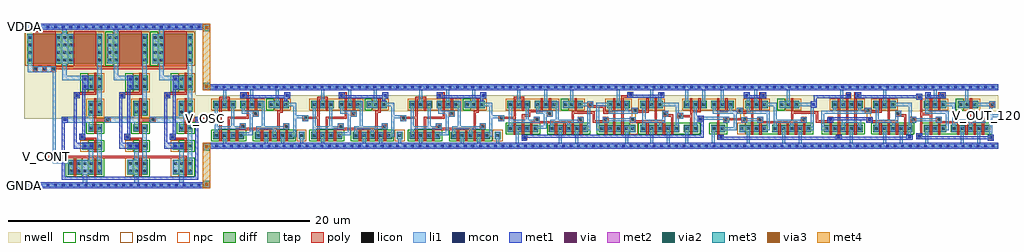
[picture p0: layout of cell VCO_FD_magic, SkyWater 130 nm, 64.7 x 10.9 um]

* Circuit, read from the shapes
.subckt VCO_FD_magic GNDA VDDA V_CONT V_OSC V_OUT_120
XM1 GNDA V_CONT vco2_3_0/V1 GNDA sky130_fd_pr__nfet_01v8 w=1 l=0.15
XM2 vco2_3_0/V3 V_CONT GNDA GNDA sky130_fd_pr__nfet_01v8 w=1 l=0.15
XM3 vco2_3_0/V3 VDDA GNDA GNDA sky130_fd_pr__nfet_01v8 w=0.5 l=0.15
XM4 vco2_3_0/V3 vco2_3_0/V8 V_OSC GNDA sky130_fd_pr__nfet_01v8 w=0.5 l=0.15
XM5 vco2_3_0/V5 V_CONT GNDA GNDA sky130_fd_pr__nfet_01v8 w=1 l=0.15
XM6 vco2_3_0/V5 VDDA GNDA GNDA sky130_fd_pr__nfet_01v8 w=0.5 l=0.15
XM7 vco2_3_0/V5 vco2_3_0/V9 vco2_3_0/V8 GNDA sky130_fd_pr__nfet_01v8 w=0.5 l=0.15
XM8 vco2_3_0/V7 V_CONT GNDA GNDA sky130_fd_pr__nfet_01v8 w=1 l=0.15
XM9 vco2_3_0/V7 VDDA GNDA GNDA sky130_fd_pr__nfet_01v8 w=0.5 l=0.15
XM10 vco2_3_0/V7 V_OSC vco2_3_0/V9 GNDA sky130_fd_pr__nfet_01v8 w=0.5 l=0.15
XM11 GNDA V_OSC n1 GNDA sky130_fd_pr__nfet_01v8 w=0.5 l=0.15
XM12 div120_2_1/div2_4_3/B div120_2_1/div2 GNDA GNDA sky130_fd_pr__nfet_01v8 w=0.5 l=0.15
XM13 div120_2_1/div2_4_3/A n1 div120_2_1/div2_4_3/B GNDA sky130_fd_pr__nfet_01v8 w=0.5 l=0.15
XM14 GNDA n1 div120_2_1/div2_4_3/C GNDA sky130_fd_pr__nfet_01v8 w=0.5 l=0.15 m=3
XM15 div120_2_1/div2 div120_2_1/div2_4_3/C GNDA GNDA sky130_fd_pr__nfet_01v8 w=0.5 l=0.15
XM16 GNDA div120_2_1/div2 n2 GNDA sky130_fd_pr__nfet_01v8 w=0.5 l=0.15
XM17 div120_2_1/div2_4_4/B div120_2_1/div4 GNDA GNDA sky130_fd_pr__nfet_01v8 w=0.5 l=0.15
XM18 div120_2_1/div2_4_4/A n2 div120_2_1/div2_4_4/B GNDA sky130_fd_pr__nfet_01v8 w=0.5 l=0.15
XM19 GNDA n2 div120_2_1/div2_4_4/C GNDA sky130_fd_pr__nfet_01v8 w=0.5 l=0.15 m=3
XM20 div120_2_1/div4 div120_2_1/div2_4_4/C GNDA GNDA sky130_fd_pr__nfet_01v8 w=0.5 l=0.15
XM21 GNDA div120_2_1/div4 n3 GNDA sky130_fd_pr__nfet_01v8 w=0.5 l=0.15
XM22 div120_2_1/div2_4_2/B div120_2_1/div8 GNDA GNDA sky130_fd_pr__nfet_01v8 w=0.5 l=0.15
XM23 div120_2_1/div2_4_2/A n3 div120_2_1/div2_4_2/B GNDA sky130_fd_pr__nfet_01v8 w=0.5 l=0.15
XM24 GNDA n3 div120_2_1/div2_4_2/C GNDA sky130_fd_pr__nfet_01v8 w=0.5 l=0.15 m=3
XM25 div120_2_1/div8 div120_2_1/div2_4_2/C GNDA GNDA sky130_fd_pr__nfet_01v8 w=0.5 l=0.15
XM26 GNDA div120_2_1/div8 div120_2_1/div3_3_1/CLK GNDA sky130_fd_pr__nfet_01v8 w=0.5 l=0.15
XM27 div120_2_1/div3_3_1/B div120_2_1/div24 GNDA GNDA sky130_fd_pr__nfet_01v8 w=0.5 l=0.15
XM28 div120_2_1/div3_3_1/A div120_2_1/div3_3_1/CLK div120_2_1/div3_3_1/B GNDA sky130_fd_pr__nfet_01v8 w=0.5 l=0.15
XM29 GNDA div120_2_1/div3_3_1/CLK div120_2_1/div3_3_1/C GNDA sky130_fd_pr__nfet_01v8 w=0.5 l=0.15 m=3
XM30 div120_2_1/div3_3_1/D div120_2_1/div3_3_1/C GNDA GNDA sky130_fd_pr__nfet_01v8 w=0.5 l=0.15
XM31 div120_2_1/div3_3_1/F div120_2_1/div3_3_1/CLK div120_2_1/div3_3_1/E GNDA sky130_fd_pr__nfet_01v8 w=0.5 l=0.15
XM32 div120_2_1/div3_3_1/G div120_2_1/div3_3_1/D div120_2_1/div3_3_1/F GNDA sky130_fd_pr__nfet_01v8 w=0.5 l=0.15
XM33 GNDA div120_2_1/div3_3_1/I div120_2_1/div3_3_1/G GNDA sky130_fd_pr__nfet_01v8 w=0.5 l=0.15
XM34 GNDA div120_2_1/div3_3_1/CLK div120_2_1/div3_3_1/H GNDA sky130_fd_pr__nfet_01v8 w=0.5 l=0.15 m=3
XM35 div120_2_1/div3_3_1/I div120_2_1/div3_3_1/H GNDA GNDA sky130_fd_pr__nfet_01v8 w=0.5 l=0.15
XM36 div120_2_1/div24 div120_2_1/div3_3_1/I GNDA GNDA sky130_fd_pr__nfet_01v8 w=0.5 l=0.15
XM37 div120_2_1/div5_2_0/A div120_2_1/div5_2_0/Q2_b GNDA GNDA sky130_fd_pr__nfet_01v8 w=0.5 l=0.15
XM38 div120_2_1/div5_2_0/C div120_2_1/div5_2_0/A GNDA GNDA sky130_fd_pr__nfet_01v8 w=0.5 l=0.15
XM39 div120_2_1/div5_2_0/B div120_2_1/div24 div120_2_1/div5_2_0/C GNDA sky130_fd_pr__nfet_01v8 w=0.5 l=0.15
XM40 GNDA div120_2_1/div24 div120_2_1/div5_2_0/D GNDA sky130_fd_pr__nfet_01v8 w=0.5 l=0.15 m=3
XM41 div120_2_1/div5_2_0/E div120_2_1/div5_2_0/D GNDA GNDA sky130_fd_pr__nfet_01v8 w=0.5 l=0.15
XM42 div120_2_1/div5_2_0/H div120_2_1/div24 div120_2_1/div5_2_0/G GNDA sky130_fd_pr__nfet_01v8 w=0.5 l=0.15
XM43 div120_2_1/div5_2_0/I div120_2_1/div5_2_0/Q2_b div120_2_1/div5_2_0/H GNDA sky130_fd_pr__nfet_01v8 w=0.5 l=0.15
XM44 GNDA div120_2_1/div5_2_0/E div120_2_1/div5_2_0/I GNDA sky130_fd_pr__nfet_01v8 w=0.5 l=0.15
XM45 div120_2_1/div5_2_0/I V_OUT_120 GNDA GNDA sky130_fd_pr__nfet_01v8 w=0.5 l=0.15
XM46 GNDA div120_2_1/div24 div120_2_1/div5_2_0/J GNDA sky130_fd_pr__nfet_01v8 w=0.5 l=0.15 m=3
XM47 div120_2_1/div5_2_0/Q2_b div120_2_1/div5_2_0/J GNDA GNDA sky130_fd_pr__nfet_01v8 w=0.5 l=0.15
XM48 div120_2_1/div5_2_0/L V_OUT_120 GNDA GNDA sky130_fd_pr__nfet_01v8 w=0.5 l=0.15
XM49 div120_2_1/div5_2_0/K div120_2_1/div5_2_0/Q2_b div120_2_1/div5_2_0/L GNDA sky130_fd_pr__nfet_01v8 w=0.5 l=0.15
XM50 GNDA div120_2_1/div5_2_0/Q2_b div120_2_1/div5_2_0/M GNDA sky130_fd_pr__nfet_01v8 w=0.5 l=0.15 m=3
XM51 V_OUT_120 div120_2_1/div5_2_0/M GNDA GNDA sky130_fd_pr__nfet_01v8 w=0.5 l=0.15
XM52 VDDA vco2_3_0/V1 vco2_3_0/V1 VDDA sky130_fd_pr__pfet_01v8 w=2 l=1.5
XM53 vco2_3_0/V2 vco2_3_0/V1 VDDA VDDA sky130_fd_pr__pfet_01v8 w=2 l=1.5
XM54 vco2_3_0/V2 vco2_3_0/V8 V_OSC VDDA sky130_fd_pr__pfet_01v8 w=1 l=0.15
XM55 vco2_3_0/V2 GNDA VDDA VDDA sky130_fd_pr__pfet_01v8 w=1 l=0.15
XM56 vco2_3_0/V4 vco2_3_0/V1 VDDA VDDA sky130_fd_pr__pfet_01v8 w=2 l=1.5
XM57 vco2_3_0/V4 vco2_3_0/V9 vco2_3_0/V8 VDDA sky130_fd_pr__pfet_01v8 w=1 l=0.15
XM58 vco2_3_0/V4 GNDA VDDA VDDA sky130_fd_pr__pfet_01v8 w=1 l=0.15
XM59 vco2_3_0/V6 vco2_3_0/V1 VDDA VDDA sky130_fd_pr__pfet_01v8 w=2 l=1.5
XM60 vco2_3_0/V6 V_OSC vco2_3_0/V9 VDDA sky130_fd_pr__pfet_01v8 w=1 l=0.15
XM61 vco2_3_0/V6 GNDA VDDA VDDA sky130_fd_pr__pfet_01v8 w=1 l=0.15
XM62 VDDA V_OSC n1 VDDA sky130_fd_pr__pfet_01v8 w=0.5 l=0.15 m=2
XM63 VDDA div120_2_1/div2 div120_2_1/div2_4_3/A VDDA sky130_fd_pr__pfet_01v8 w=0.5 l=0.15
XM64 div120_2_1/div2_4_3/C div120_2_1/div2_4_3/A VDDA VDDA sky130_fd_pr__pfet_01v8 w=0.5 l=0.15
XM65 div120_2_1/div2 n1 VDDA VDDA sky130_fd_pr__pfet_01v8 w=0.5 l=0.15
XM66 VDDA div120_2_1/div2 n2 VDDA sky130_fd_pr__pfet_01v8 w=0.5 l=0.15 m=2
XM67 VDDA div120_2_1/div4 div120_2_1/div2_4_4/A VDDA sky130_fd_pr__pfet_01v8 w=0.5 l=0.15
XM68 div120_2_1/div2_4_4/C div120_2_1/div2_4_4/A VDDA VDDA sky130_fd_pr__pfet_01v8 w=0.5 l=0.15
XM69 div120_2_1/div4 n2 VDDA VDDA sky130_fd_pr__pfet_01v8 w=0.5 l=0.15
XM70 VDDA div120_2_1/div4 n3 VDDA sky130_fd_pr__pfet_01v8 w=0.5 l=0.15 m=2
XM71 VDDA div120_2_1/div8 div120_2_1/div2_4_2/A VDDA sky130_fd_pr__pfet_01v8 w=0.5 l=0.15
XM72 div120_2_1/div2_4_2/C div120_2_1/div2_4_2/A VDDA VDDA sky130_fd_pr__pfet_01v8 w=0.5 l=0.15
XM73 div120_2_1/div8 n3 VDDA VDDA sky130_fd_pr__pfet_01v8 w=0.5 l=0.15
XM74 VDDA div120_2_1/div8 div120_2_1/div3_3_1/CLK VDDA sky130_fd_pr__pfet_01v8 w=0.5 l=0.15 m=2
XM75 VDDA div120_2_1/div24 div120_2_1/div3_3_1/A VDDA sky130_fd_pr__pfet_01v8 w=0.5 l=0.15
XM76 div120_2_1/div3_3_1/C div120_2_1/div3_3_1/A VDDA VDDA sky130_fd_pr__pfet_01v8 w=0.5 l=0.15
XM77 div120_2_1/div3_3_1/D div120_2_1/div3_3_1/CLK VDDA VDDA sky130_fd_pr__pfet_01v8 w=0.5 l=0.15
XM78 VDDA div120_2_1/div3_3_1/D div120_2_1/div3_3_1/E VDDA sky130_fd_pr__pfet_01v8 w=0.5 l=0.15
XM79 div120_2_1/div3_3_1/E div120_2_1/div3_3_1/I VDDA VDDA sky130_fd_pr__pfet_01v8 w=0.5 l=0.15
XM80 VDDA div120_2_1/div3_3_1/E div120_2_1/div3_3_1/H VDDA sky130_fd_pr__pfet_01v8 w=0.5 l=0.15
XM81 div120_2_1/div3_3_1/I div120_2_1/div3_3_1/CLK VDDA VDDA sky130_fd_pr__pfet_01v8 w=0.5 l=0.15
XM82 div120_2_1/div24 div120_2_1/div3_3_1/I VDDA VDDA sky130_fd_pr__pfet_01v8 w=0.5 l=0.15 m=2
XM83 VDDA div120_2_1/div5_2_0/Q2_b div120_2_1/div5_2_0/A VDDA sky130_fd_pr__pfet_01v8 w=0.5 l=0.15 m=2
XM84 VDDA div120_2_1/div5_2_0/A div120_2_1/div5_2_0/B VDDA sky130_fd_pr__pfet_01v8 w=0.5 l=0.15
XM85 div120_2_1/div5_2_0/D div120_2_1/div5_2_0/B VDDA VDDA sky130_fd_pr__pfet_01v8 w=0.5 l=0.15
XM86 div120_2_1/div5_2_0/E div120_2_1/div24 VDDA VDDA sky130_fd_pr__pfet_01v8 w=0.5 l=0.15
XM87 VDDA div120_2_1/div5_2_0/Q2_b div120_2_1/div5_2_0/G VDDA sky130_fd_pr__pfet_01v8 w=0.5 l=0.15
XM88 div120_2_1/div5_2_0/F div120_2_1/div5_2_0/E VDDA VDDA sky130_fd_pr__pfet_01v8 w=0.5 l=0.15
XM89 div120_2_1/div5_2_0/G V_OUT_120 div120_2_1/div5_2_0/F VDDA sky130_fd_pr__pfet_01v8 w=0.5 l=0.15
XM90 VDDA div120_2_1/div5_2_0/G div120_2_1/div5_2_0/J VDDA sky130_fd_pr__pfet_01v8 w=0.5 l=0.15
XM91 div120_2_1/div5_2_0/Q2_b div120_2_1/div24 VDDA VDDA sky130_fd_pr__pfet_01v8 w=0.5 l=0.15
XM92 VDDA V_OUT_120 div120_2_1/div5_2_0/K VDDA sky130_fd_pr__pfet_01v8 w=0.5 l=0.15
XM93 div120_2_1/div5_2_0/M div120_2_1/div5_2_0/K VDDA VDDA sky130_fd_pr__pfet_01v8 w=0.5 l=0.15
XM94 V_OUT_120 div120_2_1/div5_2_0/Q2_b VDDA VDDA sky130_fd_pr__pfet_01v8 w=0.5 l=0.15
.ends

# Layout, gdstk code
import gdstk
lib = gdstk.Library(unit=1e-6, precision=1e-09)
def R(c, l, rs):  # rectangles x0, y0, x1, y1
    for r in rs: c.add(gdstk.rectangle(r[:2], r[2:], *l))
def A(c, l, x, y, w, h, nx, ny, dx, dy):  # array of equal rectangles
    R(c, l, [(x+i*dx, y+j*dy, x+i*dx+w, y+j*dy+h) for i in range(nx) for j in range(ny)])
nwell = (64, 20)
diff = (65, 20)
tap = (65, 44)
poly = (66, 20)
licon = (66, 44)
li1 = (67, 20)
mcon = (67, 44)
met1 = (68, 20)
via = (68, 44)
met2 = (69, 20)
via2 = (69, 44)
met3 = (70, 20)
via3 = (70, 44)
met4 = (71, 20)
nsdm = (93, 44)
psdm = (94, 20)
npc = (95, 20)

vco2_3 = lib.new_cell('vco2_3')
R(vco2_3, nwell, [(11.75,-0.05,23.15,5.8)])
A(vco2_3, diff, 16, -3.75, 0.95, 1, 3, 2, 3, 3.9)
A(vco2_3, diff, 16, -2.1, 0.95, 0.5, 3, 2, 3, 1.2)
A(vco2_3, diff, 16, 1.85, 0.95, 1, 3, 1, 3, 0)
A(vco2_3, diff, 14.65, 3.6, 2.3, 2, 3, 1, 3, 0)
R(vco2_3, diff, [(14.65,-3.75,15.6,-2.75), (11.95,3.6,14.25,5.6)])
A(vco2_3, tap, 15.6, -3.75, 0.4, 1, 3, 2, 3, 5.6)
A(vco2_3, tap, 15.6, -2.1, 0.4, 0.5, 3, 1, 3, 0)
A(vco2_3, tap, 14.25, 3.6, 0.4, 2, 3, 1, 3, 0)
A(vco2_3, poly, 16.4, -3.9, 0.15, 1.25, 3, 1, 3, 0)
A(vco2_3, poly, 16.4, -2.25, 0.15, 0.8, 3, 1, 3, 0)
A(vco2_3, poly, 15.4, -1.45, 1.15, 0.15, 3, 1, 3, 0)
A(vco2_3, poly, 15.4, -1.3, 0.4, 0.25, 3, 1, 3, 0)
A(vco2_3, poly, 16.4, -1.05, 0.15, 0.85, 3, 1, 3, 0)
A(vco2_3, poly, 17.1, -0.3, 0.4, 0.1, 3, 1, 3, 0)
A(vco2_3, poly, 16.4, -0.2, 1.1, 0.15, 3, 1, 3, 0)
A(vco2_3, poly, 16.4, -0.05, 0.15, 1.35, 3, 1, 3, 0)
A(vco2_3, poly, 17.1, -0.05, 0.4, 0.15, 3, 1, 3, 0)
A(vco2_3, poly, 15.05, 1.3, 0.4, 0.25, 3, 1, 3, 0)
A(vco2_3, poly, 15.05, 1.55, 1.5, 0.15, 3, 1, 3, 0)
A(vco2_3, poly, 16.4, 1.7, 0.15, 1.3, 3, 1, 3, 0)
A(vco2_3, poly, 15.05, 3.45, 1.5, 2.3, 3, 1, 3, 0)
R(vco2_3, poly, [(15.05,-3.9,15.2,-2.65), (13.45,-2.65,22.55,-2.5), (12.35,3.05,12.65,3.45), (12.95,3.05,13.25,3.45), (13.55,3.05,13.85,3.25), (13.55,3.25,22.55,3.45), (12.35,3.45,13.85,5.75)])
A(vco2_3, licon, 15.315, -3.585, 0.17, 0.17, 3, 2, 0.4, 0.5)
A(vco2_3, licon, 15.515, -1.335, 0.17, 0.17, 3, 1, 3, 0)
A(vco2_3, licon, 17.215, -0.185, 0.17, 0.17, 3, 1, 3, 0)
A(vco2_3, licon, 15.165, 1.415, 0.17, 0.17, 3, 1, 3, 0)
A(vco2_3, licon, 12.415, 3.165, 0.17, 0.17, 3, 1, 0.6, 0)
A(vco2_3, licon, 12.065, 3.765, 0.17, 0.17, 1, 4, 0, 0.5)
A(vco2_3, licon, 13.965, 3.765, 0.17, 0.17, 3, 4, 0.4, 0.5)
A(vco2_3, licon, 16.665, 3.765, 0.17, 0.17, 1, 4, 0, 0.5)
A(vco2_3, licon, 17.365, 3.765, 0.17, 0.17, 1, 4, 0, 0.5)
A(vco2_3, licon, 17.765, 3.765, 0.17, 0.17, 1, 4, 0, 0.5)
A(vco2_3, licon, 19.665, 3.765, 0.17, 0.17, 1, 4, 0, 0.5)
A(vco2_3, licon, 20.365, 3.765, 0.17, 0.17, 1, 4, 0, 0.5)
A(vco2_3, licon, 20.765, 3.765, 0.17, 0.17, 1, 4, 0, 0.5)
A(vco2_3, licon, 22.665, 3.765, 0.17, 0.17, 1, 4, 0, 0.5)
R(vco2_3, licon, [(14.765,-3.585,14.935,-3.415), (16.665,-3.585,16.835,-3.415), (18.715,-3.585,18.885,-3.415), (19.115,-3.585,19.285,-3.415), (19.665,-3.585,19.835,-3.415), (21.715,-3.585,21.885,-3.415), (22.115,-3.585,22.285,-3.415), (22.665,-3.585,22.835,-3.415), (14.765,-3.085,14.935,-2.915), (16.665,-3.085,16.835,-2.915), (18.715,-3.085,18.885,-2.915), (19.115,-3.085,19.285,-2.915), (19.665,-3.085,19.835,-2.915), (21.715,-3.085,21.885,-2.915), (22.115,-3.085,22.285,-2.915), (22.665,-3.085,22.835,-2.915), (15.715,-1.935,15.885,-1.765), (16.115,-1.935,16.285,-1.765), (16.665,-1.935,16.835,-1.765), (18.715,-1.935,18.885,-1.765), (19.115,-1.935,19.285,-1.765), (19.665,-1.935,19.835,-1.765), (21.715,-1.935,21.885,-1.765), (22.115,-1.935,22.285,-1.765), (22.665,-1.935,22.835,-1.765), (16.115,-0.735,16.285,-0.565), (16.665,-0.735,16.835,-0.565), (19.115,-0.735,19.285,-0.565), (19.665,-0.735,19.835,-0.565), (22.115,-0.735,22.285,-0.565), (22.665,-0.735,22.835,-0.565), (16.115,0.315,16.285,0.485), (16.665,0.315,16.835,0.485), (19.115,0.315,19.285,0.485), (19.665,0.315,19.835,0.485), (22.115,0.315,22.285,0.485), (22.665,0.315,22.835,0.485), (16.115,0.815,16.285,0.985), (16.665,0.815,16.835,0.985), (19.115,0.815,19.285,0.985), (19.665,0.815,19.835,0.985), (22.115,0.815,22.285,0.985), (22.665,0.815,22.835,0.985), (15.715,2.015,15.885,2.185), (16.115,2.015,16.285,2.185), (16.665,2.015,16.835,2.185), (18.715,2.015,18.885,2.185), (19.115,2.015,19.285,2.185), (19.665,2.015,19.835,2.185), (21.715,2.015,21.885,2.185), (22.115,2.015,22.285,2.185), (22.665,2.015,22.835,2.185), (15.715,2.515,15.885,2.685), (16.115,2.515,16.285,2.685), (16.665,2.515,16.835,2.685), (18.715,2.515,18.885,2.685), (19.115,2.515,19.285,2.685), (19.665,2.515,19.835,2.685), (21.715,2.515,21.885,2.685), (22.115,2.515,22.285,2.685), (22.665,2.515,22.835,2.685)])
A(vco2_3, li1, 16.6, -3.7, 0.3, 3.25, 3, 1, 3, 0)
A(vco2_3, li1, 16.05, -2.8, 0.3, 0.75, 3, 1, 3, 0)
A(vco2_3, li1, 15.65, -2.05, 0.7, 0.4, 3, 1, 3, 0)
A(vco2_3, li1, 15.4, -1.45, 0.4, 0.4, 3, 1, 3, 0)
A(vco2_3, li1, 16.05, -0.85, 0.3, 0.55, 3, 1, 3, 0)
A(vco2_3, li1, 16.05, 0.1, 0.3, 1, 3, 1, 3, 0)
A(vco2_3, li1, 16.6, 0.2, 0.3, 5.35, 3, 1, 3, 0)
A(vco2_3, li1, 15.05, 1.3, 0.4, 0.4, 3, 1, 3, 0)
A(vco2_3, li1, 15.6, 1.9, 0.75, 0.6, 3, 1, 3, 0)
R(vco2_3, li1, [(11.95,-4.55,23.5,-4.35), (15.65,-4.35,15.95,-3.7), (19.05,-4.35,19.35,-3.7), (22.05,-4.35,22.35,-3.7), (14.7,-3.7,15,-3), (15.25,-3.7,16.35,-2.8), (18.65,-3.7,19.35,-2.8), (21.65,-3.7,22.35,-2.8), (13.65,-3,15,-2.8), (13.65,-2.8,13.85,3.05), (14.25,-0.3,16.35,0.1), (17.1,-0.3,19.35,0.1), (20.1,-0.3,22.35,0.1), (23.1,-0.3,23.5,0.1), (14.3,2.5,16.35,2.8), (17.7,2.5,19.35,2.8), (20.7,2.5,22.35,2.8), (14.3,2.8,14.6,3.65), (17.7,2.8,18,3.65), (20.7,2.8,21,3.65), (12,3.05,13.85,3.45), (12,3.45,12.3,5.55), (13.9,3.65,15,5.55), (17.3,3.65,18,5.55), (20.3,3.65,21,5.55), (14.3,5.55,14.6,5.95), (17.7,5.55,18,5.95), (20.7,5.55,21,5.95), (11.95,5.95,23.5,6.15)])
A(vco2_3, mcon, 12.265, -4.535, 0.17, 0.17, 23, 2, 0.5, 10.5)
A(vco2_3, mcon, 15.515, -1.335, 0.17, 0.17, 3, 1, 3, 0)
A(vco2_3, mcon, 15.165, 1.415, 0.17, 0.17, 3, 1, 3, 0)
A(vco2_3, mcon, 15.715, 2.015, 0.17, 0.17, 3, 2, 3, 0.5)
R(vco2_3, mcon, [(15.715,-1.935,15.885,-1.765), (16.115,-1.935,16.285,-1.765), (18.715,-1.935,18.885,-1.765), (19.115,-1.935,19.285,-1.765), (21.715,-1.935,21.885,-1.765), (22.115,-1.935,22.285,-1.765), (14.365,-0.185,14.535,-0.015), (23.215,-0.185,23.385,-0.015)])
A(vco2_3, met1, 15.05, -2.05, 1.3, 0.4, 3, 1, 3, 0)
A(vco2_3, met1, 15.05, -1.65, 0.2, 2.95, 3, 1, 3, 0)
A(vco2_3, met1, 15.4, -1.45, 0.4, 0.4, 3, 1, 3, 0)
A(vco2_3, met1, 15.6, -1.05, 0.2, 2.95, 3, 1, 3, 0)
A(vco2_3, met1, 15.05, 1.3, 0.4, 0.4, 3, 1, 3, 0)
A(vco2_3, met1, 15.6, 1.9, 0.4, 0.9, 3, 1, 3, 0)
R(vco2_3, met1, [(11.95,-4.65,23.5,-4.25), (14.25,-4.1,23.3,-3.9), (14.25,-3.9,14.45,-0.3), (23.1,-3.9,23.3,-0.3), (14.25,-0.3,14.65,0.1), (23.1,-0.3,23.5,0.1), (11.95,5.85,23.5,6.25)])
A(vco2_3, nsdm, 16, -3.875, 1.075, 1.25, 3, 1, 3, 0)
A(vco2_3, nsdm, 16, -2.225, 1.075, 0.75, 3, 1, 3, 0)
A(vco2_3, nsdm, 15.875, -1.025, 1.2, 0.75, 3, 1, 3, 0)
A(vco2_3, nsdm, 15.475, 1.725, 0.525, 1.25, 3, 1, 3, 0)
R(vco2_3, nsdm, [(14.525,-3.875,15.6,-2.625), (14.25,3.475,14.65,5.725), (17.125,3.475,17.65,5.725), (20.125,3.475,20.65,5.725)])
A(vco2_3, psdm, 15.475, -2.225, 0.525, 0.75, 3, 1, 3, 0)
A(vco2_3, psdm, 15.875, 0.025, 1.2, 1.25, 3, 1, 3, 0)
A(vco2_3, psdm, 16, 1.725, 1.075, 1.25, 3, 1, 3, 0)
A(vco2_3, psdm, 14.65, 3.475, 2.425, 2.25, 3, 1, 3, 0)
R(vco2_3, psdm, [(15.6,-3.875,16,-2.625), (18.475,-3.875,19,-2.625), (21.475,-3.875,22,-2.625), (11.825,3.475,14.25,5.725)])
A(vco2_3, npc, 15.415, -1.435, 0.37, 0.37, 3, 1, 3, 0)
A(vco2_3, npc, 17.115, -0.285, 0.37, 0.37, 3, 1, 3, 0)
A(vco2_3, npc, 15.065, 1.315, 0.37, 0.37, 3, 1, 3, 0)
R(vco2_3, npc, [(12.315,3.065,13.885,3.435)])
vco2_3.add(gdstk.Label('V8', (17.7,0.1), layer=67, texttype=5))
vco2_3.add(gdstk.Label('V9', (20.8,0.1), layer=67, texttype=5))
vco2_3.add(gdstk.Label('V2', (16.9,3.1), layer=67, texttype=5))
vco2_3.add(gdstk.Label('V3', (16.9,-2.35), layer=67, texttype=5))
vco2_3.add(gdstk.Label('V4', (19.9,3.2), layer=67, texttype=5))
vco2_3.add(gdstk.Label('V5', (19.9,-2.35), layer=67, texttype=5))
vco2_3.add(gdstk.Label('V6', (22.9,3.2), layer=67, texttype=5))
vco2_3.add(gdstk.Label('V7', (22.9,-2.35), layer=67, texttype=5))
vco2_3.add(gdstk.Label('V1', (13.65,-0.85), layer=67, texttype=5))

div5_2 = lib.new_cell('div5_2')
R(div5_2, nwell, [(4.55,1.05,23.8,2.1)])
R(div5_2, diff, [(4.75,-0.35,5.7,0.15), (7,-0.35,8.5,0.15), (8.8,-0.35,11.4,0.15), (12.2,-0.35,14.8,0.15), (15.5,-0.35,18.1,0.15), (18.85,-0.35,20.35,0.15), (20.65,-0.35,23.25,0.15), (4.75,1.25,6.25,1.75), (7,1.25,8.5,1.75), (9.65,1.25,10.6,1.75), (12.75,1.25,14.8,1.75), (15.5,1.25,17,1.75), (18.85,1.25,20.35,1.75), (21.5,1.25,22.45,1.75)])
R(div5_2, tap, [(6.6,-0.35,7,0.15), (9.25,1.25,9.65,1.75), (21.1,1.25,21.5,1.75)])
A(div5_2, poly, 9.2, -0.5, 0.15, 0.75, 3, 1, 0.55, 0)
A(div5_2, poly, 13.15, -0.5, 0.15, 2.4, 3, 1, 0.55, 0)
A(div5_2, poly, 15.9, -0.5, 0.15, 0.8, 3, 1, 0.55, 0)
A(div5_2, poly, 21.05, -0.5, 0.15, 0.75, 3, 1, 0.55, 0)
R(div5_2, poly, [(23.1,-0.9,23.5,-0.5), (5.15,-0.85,5.6,-0.5), (13,-0.85,13.4,-0.5), (18.35,-0.8,18.75,-0.4), (5.15,-0.5,5.3,1), (7.4,-0.5,7.55,0.9), (7.95,-0.5,8.1,0.25), (10.85,-0.5,11,0.3), (12.6,-0.5,12.75,0.3), (17.55,-0.5,17.7,0.7), (19.25,-0.5,19.4,0.8), (19.8,-0.5,19.95,0.25), (22.7,-0.5,22.85,0.3), (18.6,-0.4,18.75,0.8), (7.95,0.25,10.45,0.3), (19.8,0.25,22.3,0.3), (5.55,0.3,5.95,0.45), (6.75,0.3,7.15,0.45), (7.8,0.3,10.45,0.4), (10.7,0.3,11.1,0.65), (11.7,0.3,12.85,0.45), (15.05,0.3,17.15,0.45), (17.95,0.3,18.35,0.7), (19.65,0.3,22.3,0.4), (22.55,0.3,22.95,0.7), (7.8,0.4,8.2,0.7), (10.05,0.4,10.2,0.9), (19.65,0.4,20.05,0.7), (21.9,0.4,22.05,1.9), (5.55,0.45,7.15,0.6), (11.7,0.45,11.85,0.9), (12.45,0.45,12.85,0.65), (15.05,0.45,15.45,0.65), (16.45,0.45,16.6,1.9), (5.55,0.6,5.95,0.7), (6.75,0.6,7.15,0.65), (16.95,0.7,17.7,0.85), (18.6,0.8,19.4,0.95), (16.95,0.85,17.35,1.1), (6.45,0.9,7.55,1.05), (10.05,0.9,11.85,1.05), (14.95,0.9,15.35,0.95), (14.95,0.95,16.05,1.1), (18.6,0.95,18.75,1.8), (19.25,0.95,19.4,1.9), (5.15,1,5.85,1.15), (6.45,1.05,6.85,1.3), (7.4,1.05,7.55,1.9), (10.05,1.05,10.2,1.9), (7.95,1.1,8.1,1.9), (14.95,1.1,15.35,1.3), (15.9,1.1,16.05,1.9), (19.8,1.1,19.95,1.9), (5.15,1.15,5.3,1.9), (5.7,1.15,5.85,1.9), (23.2,1.3,23.6,1.7), (18.35,1.8,18.75,2.2), (7.95,1.9,8.4,2.3), (13.7,1.9,14,2.3), (14.25,1.9,14.7,2.3), (19.8,1.9,20.3,2.3)])
A(div5_2, licon, 7.115, -0.185, 0.17, 0.17, 3, 2, 0.55, 1.6)
A(div5_2, licon, 8.915, -0.185, 0.17, 0.17, 5, 1, 0.55, 0)
A(div5_2, licon, 12.315, -0.185, 0.17, 0.17, 5, 1, 0.55, 0)
A(div5_2, licon, 15.615, -0.185, 0.17, 0.17, 5, 1, 0.55, 0)
A(div5_2, licon, 18.965, -0.185, 0.17, 0.17, 3, 2, 0.55, 1.6)
A(div5_2, licon, 20.765, -0.185, 0.17, 0.17, 5, 1, 0.55, 0)
A(div5_2, licon, 4.865, 1.415, 0.17, 0.17, 3, 1, 0.55, 0)
A(div5_2, licon, 12.865, 1.415, 0.17, 0.17, 4, 1, 0.55, 0)
A(div5_2, licon, 15.615, 1.415, 0.17, 0.17, 3, 1, 0.55, 0)
R(div5_2, licon, [(23.215,-0.785,23.385,-0.615), (5.315,-0.735,5.485,-0.565), (13.115,-0.735,13.285,-0.565), (18.465,-0.685,18.635,-0.515), (4.865,-0.185,5.035,-0.015), (5.415,-0.185,5.585,-0.015), (6.715,-0.185,6.885,-0.015), (5.665,0.415,5.835,0.585), (6.865,0.415,7.035,0.585), (7.915,0.415,8.085,0.585), (10.815,0.415,10.985,0.585), (12.565,0.415,12.735,0.585), (15.165,0.415,15.335,0.585), (18.065,0.415,18.235,0.585), (19.765,0.415,19.935,0.585), (22.665,0.415,22.835,0.585), (17.065,0.815,17.235,0.985), (6.565,1.015,6.735,1.185), (15.065,1.015,15.235,1.185), (9.365,1.415,9.535,1.585), (9.765,1.415,9.935,1.585), (10.315,1.415,10.485,1.585), (21.215,1.415,21.385,1.585), (21.615,1.415,21.785,1.585), (22.165,1.415,22.335,1.585), (23.315,1.415,23.485,1.585), (18.465,1.915,18.635,2.085), (8.115,2.015,8.285,2.185), (13.765,2.015,13.935,2.185), (14.415,2.015,14.585,2.185), (20.015,2.015,20.185,2.185)])
A(div5_2, li1, 8.85, -0.3, 0.3, 0.4, 4, 1, 0.55, 0)
A(div5_2, li1, 12.8, -0.3, 0.3, 0.4, 4, 1, 0.55, 0)
A(div5_2, li1, 15.55, -0.3, 0.3, 0.4, 5, 1, 0.55, 0)
A(div5_2, li1, 20.7, -0.3, 0.3, 0.4, 4, 1, 0.55, 0)
A(div5_2, li1, 15.65, 0.1, 0.2, 0.2, 3, 1, 1.1, 0)
A(div5_2, li1, 4.8, 1.3, 0.3, 0.4, 3, 1, 0.55, 0)
R(div5_2, li1, [(4.55,-1.35,23.8,-1.15), (4.8,-1.15,5,-0.3), (7.1,-1.15,7.3,-0.3), (9.45,-1.15,9.65,-0.3), (10.55,-1.15,10.75,-0.3), (13.95,-1.15,14.15,-0.3), (16.15,-1.15,16.35,-0.3), (17.25,-1.15,17.45,-0.3), (18.95,-1.15,19.15,-0.3), (21.3,-1.15,21.5,-0.3), (22.4,-1.15,22.6,-0.3), (23.1,-0.9,23.5,-0.5), (5.2,-0.85,5.6,-0.5), (13,-0.85,13.4,-0.5), (17.7,-0.85,18.1,-0.5), (18.35,-0.8,18.75,-0.4), (17.8,-0.5,18,-0.3), (23.2,-0.5,23.4,-0.3), (4.8,-0.3,5.1,0.1), (5.35,-0.3,5.65,-0.2), (6.65,-0.3,7.35,0.1), (7.6,-0.3,7.9,0.1), (8.15,-0.3,8.45,-0.2), (11.05,-0.3,11.35,-0.2), (12.25,-0.3,12.55,-0.2), (18.9,-0.3,19.2,0.1), (19.45,-0.3,19.75,0.1), (20,-0.3,20.3,-0.2), (22.9,-0.3,23.4,0.1), (5.35,-0.2,6.45,0), (8.15,-0.2,8.65,0.1), (11.05,-0.2,11.55,0.1), (12.05,-0.2,12.55,0.1), (20,-0.2,20.5,0.1), (5.35,0,5.65,0.1), (6.25,0,6.45,0.9), (8.45,0.1,8.65,0.9), (8.9,0.1,9.1,0.3), (10,0.1,10.2,0.3), (11.35,0.1,11.55,1.3), (12.05,0.1,12.25,0.9), (13.4,0.1,13.6,0.3), (14.5,0.1,14.7,0.3), (20.3,0.1,20.5,0.9), (20.75,0.1,20.95,0.3), (21.85,0.1,22.05,0.3), (23.2,0.1,23.4,0.65), (5.55,0.3,5.95,0.5), (6.75,0.3,7.15,0.4), (7.8,0.3,8.2,0.4), (8.9,0.3,11.1,0.5), (12.45,0.3,12.85,0.65), (13.4,0.3,14.7,0.5), (15.05,0.3,15.45,0.65), (15.65,0.3,17.15,0.5), (17.85,0.3,18.35,0.4), (19.65,0.3,20.05,0.4), (20.75,0.3,22.95,0.5), (6.75,0.4,8.2,0.6), (17.85,0.4,20.05,0.6), (4.55,0.5,5.95,0.7), (8.9,0.5,9.1,1.4), (10.7,0.5,11.1,0.65), (15.65,0.5,15.85,1.3), (16.95,0.5,17.15,0.7), (20.75,0.5,20.95,1.4), (22.55,0.5,22.95,0.7), (6.75,0.6,7.15,0.65), (7.8,0.6,8.2,0.7), (17.85,0.6,18.35,0.7), (19.65,0.6,20.05,0.7), (23.2,0.65,23.8,0.85), (16.95,0.7,17.35,1.1), (17.85,0.7,18.05,1.4), (23.2,0.85,23.4,1.3), (4.85,0.9,6.85,1.1), (7.1,0.9,8.65,1.1), (12.05,0.9,15.35,1.1), (18.95,0.9,20.5,1.1), (4.85,1.1,5.05,1.3), (5.95,1.1,6.15,1.3), (6.45,1.1,6.85,1.3), (7.1,1.1,7.3,1.3), (12.85,1.1,13.05,1.3), (14.5,1.1,14.7,1.3), (14.95,1.1,15.35,1.3), (18.95,1.1,19.15,1.3), (7.05,1.3,7.35,1.7), (7.6,1.3,7.9,1.7), (8.15,1.3,8.45,1.4), (9.3,1.3,10,1.7), (10.25,1.3,10.55,1.4), (11.35,1.3,11.75,1.4), (12.8,1.3,13.1,1.7), (13.3,1.3,13.65,1.7), (13.9,1.3,14.2,1.7), (14.45,1.3,14.75,1.7), (15.55,1.3,15.85,1.7), (16.1,1.3,16.4,1.7), (16.65,1.3,16.95,1.4), (18.9,1.3,19.2,1.7), (19.45,1.3,19.75,1.7), (20,1.3,20.3,1.4), (21.15,1.3,21.85,1.7), (22.1,1.3,22.4,1.4), (23.2,1.3,23.6,1.4), (8.15,1.4,9.1,1.6), (10.25,1.4,11.75,1.6), (16.65,1.4,18.05,1.6), (20,1.4,20.95,1.6), (22.1,1.4,23.6,1.6), (8.15,1.6,8.45,1.7), (10.25,1.6,10.55,1.7), (11.35,1.6,11.75,1.7), (16.65,1.6,16.95,1.7), (20,1.6,20.3,1.7), (22.1,1.6,22.4,1.7), (23.2,1.6,23.6,1.7), (5.4,1.7,5.6,2.55), (7.1,1.7,7.3,1.9), (7.6,1.7,7.8,2.55), (9.75,1.7,9.95,2.55), (13.3,1.7,13.5,2.55), (16.15,1.7,16.35,2.55), (18.95,1.7,19.15,1.9), (19.5,1.7,19.7,2.55), (21.6,1.7,21.8,2.55), (18.35,1.8,18.75,2.2), (6.9,1.9,7.3,2.3), (8,1.9,8.4,2.3), (13.7,1.9,14,2.3), (14.3,1.9,14.7,2.3), (18.95,1.9,19.3,2.3), (19.9,1.9,20.3,2.3), (4.55,2.55,23.8,2.75)])
A(div5_2, mcon, 4.865, -1.335, 0.17, 0.17, 38, 2, 0.5, 3.9)
R(div5_2, mcon, [(23.215,-0.785,23.385,-0.615), (5.315,-0.735,5.485,-0.565), (13.115,-0.735,13.285,-0.565), (17.815,-0.735,17.985,-0.565), (18.465,-0.685,18.635,-0.515), (12.565,0.415,12.735,0.585), (15.165,0.415,15.335,0.585), (11.465,1.415,11.635,1.585), (18.465,1.915,18.635,2.085), (7.015,2.015,7.185,2.185), (8.115,2.015,8.285,2.185), (13.765,2.015,13.935,2.185), (14.415,2.015,14.585,2.185), (19.065,2.015,19.235,2.185), (20.015,2.015,20.185,2.185)])
R(div5_2, met1, [(4.55,-1.45,23.8,-1.05), (23.1,-0.9,23.5,-0.8), (5.2,-0.85,18.1,-0.65), (18.35,-0.8,23.5,-0.6), (5.2,-0.65,5.6,-0.5), (13,-0.65,13.4,-0.5), (17.7,-0.65,18.1,-0.5), (18.35,-0.6,18.75,-0.4), (23.1,-0.6,23.5,-0.5), (12.45,0.3,12.85,0.45), (15.05,0.3,15.45,0.45), (12.45,0.45,15.45,0.65), (11.35,1.3,11.75,1.7), (11.55,1.7,11.75,1.9), (18.35,1.8,18.75,1.9), (6.9,1.9,8.4,2.1), (11.55,1.9,14,2.1), (14.3,1.9,18.75,2.1), (18.95,1.9,20.3,2.1), (6.9,2.1,7.3,2.3), (8,2.1,8.4,2.3), (13.7,2.1,14,2.3), (14.3,2.1,14.7,2.3), (18.35,2.1,18.75,2.2), (18.95,2.1,19.3,2.3), (19.9,2.1,20.3,2.3), (4.55,2.45,23.8,2.85)])
R(div5_2, nsdm, [(4.625,-0.475,5.825,0.275), (7,-0.475,11.525,0.275), (12.075,-0.475,14.925,0.275), (15.375,-0.475,18.225,0.275), (18.725,-0.475,23.375,0.275), (9.125,1.125,9.65,1.875), (20.975,1.125,21.5,1.875)])
R(div5_2, psdm, [(6.475,-0.475,7,0.275), (4.625,1.125,6.375,1.875), (6.875,1.125,8.625,1.875), (9.65,1.125,10.725,1.875), (12.625,1.125,14.925,1.875), (15.375,1.125,17.125,1.875), (18.725,1.125,20.475,1.875), (21.5,1.125,22.575,1.875)])
R(div5_2, npc, [(23.115,-0.885,23.485,-0.515), (5.215,-0.835,5.585,-0.465), (13.015,-0.835,13.385,-0.465), (18.365,-0.785,18.735,-0.415), (5.565,0.315,5.935,0.685), (6.765,0.315,7.135,0.475), (7.815,0.315,8.185,0.685), (10.715,0.315,11.085,0.685), (12.465,0.315,12.835,0.685), (15.065,0.315,15.435,0.685), (17.965,0.315,18.335,0.685), (19.665,0.315,20.035,0.685), (22.565,0.315,22.935,0.685), (6.665,0.475,7.135,0.685), (6.665,0.685,6.935,0.915), (15.065,0.685,15.335,0.915), (16.965,0.715,17.335,1.085), (6.465,0.915,6.935,1.125), (14.965,0.915,15.335,1.285), (6.465,1.125,6.835,1.285), (23.215,1.315,23.585,1.685), (18.365,1.815,18.735,2.185), (8.015,1.915,8.385,2.285), (13.665,1.915,14.035,2.285), (14.315,1.915,14.685,2.285), (19.915,1.915,20.285,2.285)])
div5_2.add(gdstk.Label('C', (7.75,-0.3), layer=67, texttype=5))
div5_2.add(gdstk.Label('B', (8.45,0.8), layer=67, texttype=5))
div5_2.add(gdstk.Label('D', (9.1,0.8), layer=67, texttype=5))
div5_2.add(gdstk.Label('E', (11.75,1.5), layer=67, texttype=5))
div5_2.add(gdstk.Label('F', (14.05,1.7), layer=67, texttype=5))
div5_2.add(gdstk.Label('G', (14.75,1.5), layer=67, texttype=5))
div5_2.add(gdstk.Label('H', (12.95,-0.3), layer=67, texttype=5))
div5_2.add(gdstk.Label('J', (15.85,0.7), layer=67, texttype=5))
div5_2.add(gdstk.Label('Q2_b', (17.55,1.6), layer=67, texttype=5))
div5_2.add(gdstk.Label('L', (19.6,-0.3), layer=67, texttype=5))
div5_2.add(gdstk.Label('K', (20.5,0.7), layer=67, texttype=5))
div5_2.add(gdstk.Label('M', (20.95,0.85), layer=67, texttype=5))
div5_2.add(gdstk.Label('A', (6.25,-0.2), layer=67, texttype=5))
div5_2.add(gdstk.Label('I', (14.7,0.25), layer=67, texttype=5))

div3_3 = lib.new_cell('div3_3')
R(div3_3, nwell, [(5.85,1.05,19.45,2.1)])
R(div3_3, diff, [(6.05,-0.35,8.1,0.15), (8.8,-0.35,11.4,0.15), (12.1,-0.35,14.15,0.15), (14.85,-0.35,17.45,0.15), (17.75,-0.35,18.7,0.15), (6.05,1.25,7.55,1.75), (7.85,1.25,9.35,1.75), (10.1,1.25,11.05,1.75), (12.65,1.25,14.15,1.75), (14.85,1.25,16.35,1.75), (17.75,1.25,19.25,1.75)])
R(div3_3, tap, [(14.15,-0.35,14.55,0.15), (9.7,1.25,10.1,1.75)])
A(div3_3, poly, 9.2, -0.5, 0.15, 0.75, 3, 1, 0.55, 0)
A(div3_3, poly, 15.25, -0.5, 0.15, 0.8, 3, 1, 0.55, 0)
R(div3_3, poly, [(7,-0.9,7.33,-0.5), (6.45,-0.5,6.6,0.55), (7,-0.5,7.15,0.7), (7.55,-0.5,7.7,0.25), (10.85,-0.5,11,0.3), (12.5,-0.5,12.65,0.3), (13.05,-0.5,13.2,0.9), (13.6,-0.5,13.75,1.95), (16.9,-0.5,17.05,0.7), (18.15,-0.5,18.3,0.65), (7.55,0.25,10.45,0.4), (10.7,0.3,11.1,0.65), (11.7,0.3,12.75,0.45), (14.15,0.3,16.5,0.45), (18.65,0.35,19.05,0.75), (7.8,0.4,8.2,0.7), (10.3,0.4,10.45,0.9), (11.7,0.45,11.85,0.9), (12.35,0.45,12.75,0.65), (14.15,0.45,14.55,0.65), (15.8,0.45,15.95,1.9), (5.85,0.55,6.6,0.7), (17.3,0.55,17.7,0.65), (17.3,0.65,18.3,0.8), (6.45,0.7,6.6,1.85), (7,0.7,7.55,0.85), (8.65,0.7,9.05,1.1), (16.3,0.7,17.05,0.85), (17.3,0.8,17.7,0.95), (18.15,0.8,18.3,1), (7.4,0.85,7.55,1), (16.3,0.85,16.7,1.1), (10.3,0.9,11.85,1.05), (12.4,0.9,13.2,1.05), (14.3,0.9,14.7,0.95), (14.3,0.95,15.4,1.1), (7.4,1,8.4,1.15), (18.15,1,18.85,1.15), (10.5,1.05,10.65,1.9), (12.4,1.05,12.55,1.3), (13.05,1.05,13.2,1.9), (7,1.1,7.15,1.85), (8.8,1.1,8.95,1.9), (14.3,1.1,14.7,1.3), (15.25,1.1,15.4,1.9), (8.25,1.15,8.4,1.9), (18.15,1.15,18.3,1.9), (18.7,1.15,18.85,1.9), (11.35,1.3,12.55,1.45), (11.35,1.45,11.75,1.7), (6.45,1.85,7.15,2), (13.6,1.95,14.4,2.1), (14,2.1,14.4,2.3)])
A(div3_3, licon, 6.165, -0.185, 0.17, 0.17, 4, 1, 0.55, 0)
A(div3_3, licon, 8.915, -0.185, 0.17, 0.17, 5, 1, 0.55, 0)
A(div3_3, licon, 12.215, -0.185, 0.17, 0.17, 4, 1, 0.55, 0)
A(div3_3, licon, 14.965, -0.185, 0.17, 0.17, 5, 1, 0.55, 0)
A(div3_3, licon, 6.165, 1.415, 0.17, 0.17, 3, 1, 0.55, 0)
A(div3_3, licon, 7.965, 1.415, 0.17, 0.17, 3, 1, 0.55, 0)
A(div3_3, licon, 12.765, 1.415, 0.17, 0.17, 3, 1, 0.55, 0)
A(div3_3, licon, 14.965, 1.415, 0.17, 0.17, 3, 1, 0.55, 0)
A(div3_3, licon, 17.865, 1.415, 0.17, 0.17, 3, 1, 0.55, 0)
R(div3_3, licon, [(7.095,-0.785,7.265,-0.615), (14.265,-0.185,14.435,-0.015), (17.865,-0.185,18.035,-0.015), (18.415,-0.185,18.585,-0.015), (7.915,0.415,8.085,0.585), (10.815,0.415,10.985,0.585), (12.465,0.415,12.635,0.585), (14.265,0.415,14.435,0.585), (18.765,0.465,18.935,0.635), (17.415,0.665,17.585,0.835), (8.765,0.815,8.935,0.985), (16.415,0.815,16.585,0.985), (14.415,1.015,14.585,1.185), (9.815,1.415,9.985,1.585), (10.215,1.415,10.385,1.585), (10.765,1.415,10.935,1.585), (11.465,1.415,11.635,1.585), (14.115,2.065,14.285,2.235)])
A(div3_3, li1, 8.85, -0.3, 0.3, 0.4, 4, 1, 0.55, 0)
A(div3_3, li1, 14.9, -0.3, 0.3, 0.4, 5, 1, 0.55, 0)
A(div3_3, li1, 6.1, 1.3, 0.3, 0.4, 3, 1, 0.55, 0)
A(div3_3, li1, 17.8, 1.3, 0.3, 0.4, 3, 1, 0.55, 0)
R(div3_3, li1, [(5.85,-1.35,19.45,-1.15), (6.6,-1.15,6.8,-0.3), (9.45,-1.15,9.65,-0.3), (10.55,-1.15,10.75,-0.3), (13.85,-1.15,14.05,-0.3), (15.5,-1.15,15.7,-0.3), (16.6,-1.15,16.8,-0.3), (17.85,-1.15,18.05,-0.3), (7,-0.9,7.33,-0.5), (6.1,-0.3,6.4,0.1), (6.6,-0.3,6.95,0.1), (7.2,-0.3,7.5,0.1), (7.75,-0.3,8.05,-0.1), (11.05,-0.3,11.35,-0.2), (12.15,-0.3,12.45,-0.2), (12.7,-0.3,13,0.1), (13.25,-0.3,13.55,0.1), (13.8,-0.3,14.5,0.1), (17.8,-0.3,18.1,0.1), (18.35,-0.3,18.65,0.1), (11.05,-0.2,11.55,0.1), (11.95,-0.2,12.45,0.1), (7.75,-0.1,8.65,0.1), (6.15,0.1,6.35,0.3), (8.45,0.1,8.65,0.7), (8.9,0.1,9.1,0.3), (10,0.1,10.2,0.3), (11.35,0.1,11.55,1.3), (11.95,0.1,12.15,1.4), (15,0.1,15.2,0.3), (16.1,0.1,16.3,0.3), (17.2,0.1,17.4,0.55), (18.4,0.1,18.6,0.35), (6.15,0.3,8.2,0.5), (8.9,0.3,11.1,0.5), (12.35,0.3,12.75,0.4), (14.15,0.3,14.55,0.4), (15,0.3,16.5,0.5), (18.4,0.35,19.05,0.5), (12.35,0.4,14.55,0.6), (6.15,0.5,6.35,1.3), (7.25,0.5,7.45,1.3), (7.8,0.5,8.2,0.7), (9.25,0.5,9.45,1.3), (10.7,0.5,11.1,0.65), (15,0.5,15.2,1.3), (16.3,0.5,16.5,0.7), (18.4,0.5,19.45,0.7), (17.2,0.55,17.7,0.95), (12.35,0.6,12.75,0.65), (14.15,0.6,14.55,0.65), (8.45,0.7,9.05,0.9), (16.3,0.7,16.7,1.1), (18.4,0.7,19.05,0.75), (18.4,0.75,18.6,1.3), (7.95,0.9,9.05,1.1), (12.75,0.9,14.7,1.1), (17.2,0.95,17.4,1.4), (7.95,1.1,8.15,1.3), (12.75,1.1,12.95,1.3), (13.85,1.1,14.05,1.3), (14.3,1.1,14.7,1.3), (7.9,1.3,8.2,1.7), (8.45,1.3,8.75,1.7), (9,1.3,9.45,1.7), (9.75,1.3,10.45,1.7), (10.7,1.3,11,1.4), (11.35,1.3,11.75,1.4), (12.7,1.3,13,1.4), (13.25,1.3,13.55,1.7), (13.8,1.3,14.1,1.7), (14.9,1.3,15.2,1.7), (15.45,1.3,15.75,1.7), (16,1.3,16.3,1.4), (10.7,1.4,11.75,1.6), (11.95,1.4,13,1.6), (16,1.4,17.4,1.6), (10.7,1.6,11,1.7), (11.35,1.6,11.75,1.7), (12.7,1.6,13,1.7), (16,1.6,16.3,1.7), (6.7,1.7,6.9,2.55), (8.5,1.7,8.7,2.55), (10.2,1.7,10.4,2.55), (13.3,1.7,13.5,2.55), (15.5,1.7,15.7,2.55), (16.05,1.7,16.25,1.95), (17.85,1.7,18.05,2.55), (18.95,1.7,19.15,2.55), (14,1.95,14.4,2.3), (16.05,1.95,16.45,2.3), (5.85,2.55,19.45,2.75)])
A(div3_3, mcon, 6.165, -1.335, 0.17, 0.17, 27, 2, 0.5, 3.9)
R(div3_3, mcon, [(7.095,-0.785,7.265,-0.615), (18.765,0.465,18.935,0.635), (14.115,2.065,14.285,2.235), (16.165,2.065,16.335,2.235)])
R(div3_3, met1, [(5.85,-1.45,19.45,-1.05), (7,-0.9,7.33,-0.7), (7,-0.7,19.05,-0.5), (18.85,-0.5,19.05,0.35), (18.65,0.35,19.05,0.75), (14,1.95,16.45,2.15), (14,2.15,14.4,2.3), (16.05,2.15,16.45,2.3), (5.85,2.45,19.45,2.85)])
R(div3_3, nsdm, [(5.925,-0.475,8.225,0.275), (8.675,-0.475,11.525,0.275), (11.975,-0.475,14.15,0.275), (14.725,-0.475,18.825,0.275), (9.575,1.125,10.1,1.875)])
R(div3_3, psdm, [(14.15,-0.475,14.675,0.275), (5.925,1.125,9.475,1.875), (10.1,1.125,11.175,1.875), (12.525,1.125,14.275,1.875), (14.725,1.125,16.475,1.875), (17.625,1.125,19.375,1.875)])
R(div3_3, npc, [(6.995,-0.885,7.365,-0.515), (7.815,0.315,8.185,0.685), (10.715,0.315,11.085,0.685), (12.365,0.315,12.735,0.685), (14.165,0.315,14.535,0.57), (18.665,0.365,19.035,0.735), (17.315,0.565,17.685,0.935), (14.165,0.57,14.56,0.685), (14.29,0.685,14.56,0.915), (8.665,0.715,9.035,1.085), (16.315,0.715,16.685,1.085), (14.29,0.915,14.685,1.03), (14.315,1.03,14.685,1.285), (11.365,1.315,11.735,1.685), (14.015,1.965,14.385,2.335)])
div3_3.add(gdstk.Label('CLK', (6.8,0.5), layer=67, texttype=5))
div3_3.add(gdstk.Label('A', (7.95,0.9), layer=67, texttype=5))
div3_3.add(gdstk.Label('B', (7.35,-0.3), layer=67, texttype=5))
div3_3.add(gdstk.Label('C', (9.45,0.8), layer=67, texttype=5))
div3_3.add(gdstk.Label('D', (11.55,0.45), layer=67, texttype=5))
div3_3.add(gdstk.Label('I', (17.4,1.6), layer=67, texttype=5))
div3_3.add(gdstk.Label('E', (11.95,1.6), layer=67, texttype=5))
div3_3.add(gdstk.Label('F', (12.85,-0.3), layer=67, texttype=5))
div3_3.add(gdstk.Label('G', (13.4,-0.3), layer=67, texttype=5))
div3_3.add(gdstk.Label('H', (15.2,0.7), layer=67, texttype=5))

div2_4 = lib.new_cell('div2_4')
R(div2_4, nwell, [(6.05,1.5,11.45,2.55)])
R(div2_4, diff, [(6.25,-0.35,8.3,0.15), (9,-0.35,11.6,0.15), (6.25,1.7,7.75,2.2), (8.05,1.7,9.55,2.2), (10.3,1.7,11.25,2.2)])
R(div2_4, tap, [(11.9,-0.35,12.3,0.15), (9.9,1.7,10.3,2.2)])
A(div2_4, poly, 9.4, -0.5, 0.15, 0.75, 3, 1, 0.55, 0)
R(div2_4, poly, [(6.65,-0.5,6.8,1), (7.2,-0.5,7.35,1), (7.75,-0.5,7.9,0.25), (11.05,-0.5,11.2,0.3), (7.75,0.25,10.65,0.4), (10.9,0.3,11.3,0.7), (8,0.4,8.4,0.7), (10.5,0.4,10.65,1.4), (6.05,1,6.8,1.15), (7.2,1,8.6,1.15), (6.65,1.15,6.8,2.3), (8.45,1.15,8.6,2.35), (8.85,1.15,9.25,1.55), (10.5,1.4,10.85,1.55), (7.2,1.55,7.35,2.3), (9,1.55,9.15,2.35), (10.7,1.55,10.85,2.35), (6.65,2.3,7.35,2.45), (8.05,2.35,8.6,2.75)])
A(div2_4, licon, 6.365, -0.185, 0.17, 0.17, 4, 1, 0.55, 0)
A(div2_4, licon, 9.115, -0.185, 0.17, 0.17, 5, 1, 0.55, 0)
A(div2_4, licon, 6.365, 1.865, 0.17, 0.17, 3, 1, 0.55, 0)
A(div2_4, licon, 8.165, 1.865, 0.17, 0.17, 3, 1, 0.55, 0)
R(div2_4, licon, [(12.015,-0.185,12.185,-0.015), (8.115,0.415,8.285,0.585), (11.015,0.415,11.185,0.585), (8.965,1.265,9.135,1.435), (10.015,1.865,10.185,2.035), (10.415,1.865,10.585,2.035), (10.965,1.865,11.135,2.035), (8.165,2.465,8.335,2.635)])
A(div2_4, li1, 6.3, -0.3, 0.3, 0.4, 3, 2, 0.55, 2.05)
A(div2_4, li1, 9.05, -0.3, 0.3, 0.4, 4, 1, 0.55, 0)
R(div2_4, li1, [(6.05,-0.9,12.65,-0.7), (6.9,-0.7,7.1,-0.3), (9.65,-0.7,9.85,-0.3), (10.75,-0.7,10.95,-0.3), (12,-0.7,12.2,-0.3), (7.95,-0.3,8.25,-0.1), (11.25,-0.3,11.55,-0.2), (11.95,-0.3,12.25,0.1), (11.25,-0.2,11.75,0.1), (7.95,-0.1,8.85,0.1), (6.35,0.1,6.55,0.3), (8.65,0.1,8.85,1.15), (9.1,0.1,9.3,0.3), (10.2,0.1,10.4,0.3), (11.55,0.1,11.75,1.05), (6.35,0.3,8.4,0.5), (9.1,0.3,11.3,0.5), (6.35,0.5,6.55,1.75), (7.45,0.5,7.65,1.75), (8,0.5,8.4,0.7), (9.45,0.5,9.65,1.75), (10.9,0.5,11.3,0.7), (11.55,1.05,12.3,1.25), (8.65,1.15,9.25,1.35), (11.55,1.25,11.75,1.85), (8.15,1.35,9.25,1.55), (8.15,1.55,8.35,1.75), (8.1,1.75,8.4,2.15), (8.65,1.75,8.95,2.15), (9.2,1.75,9.65,2.15), (9.95,1.75,10.65,2.15), (10.9,1.75,11.2,1.85), (10.9,1.85,11.75,2.05), (10.9,2.05,11.2,2.15), (6.9,2.15,7.1,3), (8.7,2.15,8.9,3), (10.4,2.15,10.6,3), (10.95,2.15,11.15,2.35), (8.05,2.35,8.45,2.75), (10.95,2.35,11.35,2.75), (6.05,3,12.65,3.2)])
A(div2_4, mcon, 6.365, -0.885, 0.17, 0.17, 13, 2, 0.5, 3.9)
R(div2_4, mcon, [(8.165,2.465,8.335,2.635), (11.065,2.465,11.235,2.635)])
R(div2_4, met1, [(6.05,-1,12.65,-0.6), (10.95,2.15,11.15,2.35), (8.05,2.35,11.35,2.55), (8.05,2.55,8.45,2.75), (10.95,2.55,11.35,2.75), (6.05,2.9,12.65,3.3)])
R(div2_4, nsdm, [(6.125,-0.475,8.425,0.275), (8.875,-0.475,11.725,0.275), (9.775,1.575,10.3,2.325)])
R(div2_4, psdm, [(11.775,-0.475,12.425,0.275), (6.125,1.575,9.675,2.325), (10.3,1.575,11.375,2.325)])
R(div2_4, npc, [(8.015,0.315,8.385,0.685), (10.915,0.315,11.285,0.685), (8.865,1.165,9.235,1.535), (8.065,2.365,8.435,2.735)])
div2_4.add(gdstk.Label('B', (7.55,-0.3), layer=67, texttype=5))
div2_4.add(gdstk.Label('C', (9.65,1.25), layer=67, texttype=5))
div2_4.add(gdstk.Label('A', (8.85,1), layer=67, texttype=5))

div120_2 = lib.new_cell('div120_2')
R(div120_2, nwell, [(5.25,-3.2,6.6,-2.15), (11.75,-3.2,13.15,-2.15), (18.25,-3.2,19.6,-2.15)])
A(div120_2, poly, 6, -3.85, 0.4, 0.4, 3, 1, 6.5, 0)
A(div120_2, licon, 6.115, -3.735, 0.17, 0.17, 3, 1, 6.5, 0)
A(div120_2, li1, 6, -3.85, 0.4, 0.4, 3, 1, 6.5, 0)
R(div120_2, li1, [(32.5,-3.75,32.7,-3.55)])
R(div120_2, psdm, [(32.925,-3.125,32.975,-2.375)])
A(div120_2, npc, 6.015, -3.835, 0.37, 0.37, 3, 1, 6.5, 0)
div120_2.add(gdstk.Reference(div5_2, (28.35,-4.25)))
div120_2.add(gdstk.Reference(div3_3, (13.55,-4.25)))
div120_2.add(gdstk.Reference(div2_4, (6.85,-4.7)))
div120_2.add(gdstk.Reference(div2_4, (-6.15,-4.7)))
div120_2.add(gdstk.Reference(div2_4, (0.35,-4.7)))
div120_2.add(gdstk.Label('div24', (32.6,-3.75), layer=67, texttype=5))
div120_2.add(gdstk.Label('div8', (19.2,-3.85), layer=67, texttype=5))
div120_2.add(gdstk.Label('div4', (12.7,-3.85), layer=67, texttype=5))
div120_2.add(gdstk.Label('div2', (6.2,-3.85), layer=67, texttype=5))

vco_fd_magic = lib.new_cell('VCO_FD_magic')
R(vco_fd_magic, nwell, [(11.35,5.3,12.45,6.35), (11.4,6.35,12.45,6.75)])
R(vco_fd_magic, poly, [(1.5,2.6,1.7,2.75), (11.75,5.2,12.4,5.35)])
R(vco_fd_magic, li1, [(11.85,0.6,12.35,0.7), (0,0.7,0.2,0.9), (11.7,0.7,12.35,0.9), (11.85,0.9,12.35,1.1), (11.85,3.1,12.35,3.6), (64.6,5.3,64.7,5.5), (11.85,7.1,12.35,7.6), (11.85,11,12.35,11.2), (0,11.2,0.25,11.4), (11.7,11.2,12.35,11.4), (11.85,11.4,12.35,11.5)])
R(vco_fd_magic, mcon, [(12.015,0.765,12.185,0.935), (12.015,3.265,12.185,3.435), (12.015,7.265,12.185,7.435), (12.015,11.165,12.185,11.335)])
R(vco_fd_magic, met1, [(0,0.6,0.2,1), (11.75,0.6,12.35,0.7), (11.7,0.7,12.35,0.9), (11.75,0.9,12.35,1), (11.85,1,12.35,1.1), (11.85,3.1,12.35,3.6), (11.85,7.1,12.35,7.6), (11.85,11,12.35,11.1), (0,11.1,0.2,11.2), (11.7,11.1,12.35,11.5), (0,11.2,0.25,11.4), (0,11.4,0.2,11.5)])
R(vco_fd_magic, via, [(12.025,0.775,12.175,0.925), (12.025,3.275,12.175,3.425), (12.025,7.275,12.175,7.425), (12.025,11.175,12.175,11.325)])
R(vco_fd_magic, met2, [(11.85,0.6,12.35,1.1), (11.85,3.1,12.35,3.6), (11.85,7.1,12.35,7.6), (11.85,11,12.35,11.5)])
R(vco_fd_magic, via2, [(12,0.75,12.2,0.95), (12,3.25,12.2,3.45), (12,7.25,12.2,7.45), (12,11.15,12.2,11.35)])
R(vco_fd_magic, met3, [(11.85,0.6,12.35,1.1), (11.85,3.1,12.35,3.6), (11.85,7.1,12.35,7.6), (11.85,11,12.35,11.5)])
R(vco_fd_magic, via3, [(12,0.75,12.2,0.95), (12,3.25,12.2,3.45), (12,7.25,12.2,7.45), (12,11.15,12.2,11.35)])
R(vco_fd_magic, met4, [(11.85,0.6,12.35,3.6), (11.85,7.1,12.35,11.5)])
vco_fd_magic.add(gdstk.Reference(vco2_3, (-11.75,5.25)))
vco_fd_magic.add(gdstk.Reference(div120_2, (12.45,8.9)))
vco_fd_magic.add(gdstk.Label('V_OSC', (12.05,5.2), layer=66, texttype=5))
vco_fd_magic.add(gdstk.Label('V_OUT_120', (64.7,5.4), layer=67, texttype=5))
vco_fd_magic.add(gdstk.Label('VDDA', (0,11.3), layer=68, texttype=5))
vco_fd_magic.add(gdstk.Label('GNDA', (0,0.8), layer=68, texttype=5))
vco_fd_magic.add(gdstk.Label('V_CONT', (1.5,2.7), layer=66, texttype=5))

lib.write_gds('VCO_FD_magic.gds')
